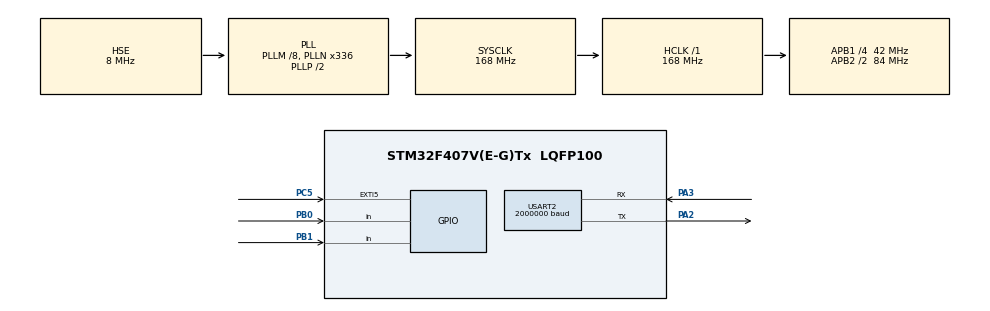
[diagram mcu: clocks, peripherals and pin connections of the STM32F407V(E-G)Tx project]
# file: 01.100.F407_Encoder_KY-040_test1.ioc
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Dma.Request0=USART2_TX
Dma.Request1=USART2_RX
Dma.USART2_RX.1.Direction=DMA_PERIPH_TO_MEMORY
Dma.USART2_RX.1.FIFOMode=DMA_FIFOMODE_DISABLE
Dma.USART2_RX.1.Instance=DMA1_Stream5
Dma.USART2_RX.1.MemDataAlignment=DMA_MDATAALIGN_BYTE
Dma.USART2_RX.1.MemInc=DMA_MINC_ENABLE
Dma.USART2_RX.1.Mode=DMA_CIRCULAR
Dma.USART2_RX.1.PeriphDataAlignment=DMA_PDATAALIGN_BYTE
Dma.USART2_RX.1.PeriphInc=DMA_PINC_DISABLE
Dma.USART2_RX.1.Priority=DMA_PRIORITY_LOW
Dma.USART2_TX.0.Direction=DMA_MEMORY_TO_PERIPH
Dma.USART2_TX.0.FIFOMode=DMA_FIFOMODE_DISABLE
Dma.USART2_TX.0.Instance=DMA1_Stream6
Dma.USART2_TX.0.MemDataAlignment=DMA_MDATAALIGN_BYTE
Dma.USART2_TX.0.MemInc=DMA_MINC_ENABLE
Dma.USART2_TX.0.Mode=DMA_NORMAL
Dma.USART2_TX.0.PeriphDataAlignment=DMA_PDATAALIGN_BYTE
Dma.USART2_TX.0.PeriphInc=DMA_PINC_DISABLE
Dma.USART2_TX.0.Priority=DMA_PRIORITY_LOW
Mcu.Family=STM32F4
Mcu.Name=STM32F407V(E-G)Tx
Mcu.Package=LQFP100
NVIC.DMA1_Stream5_IRQn=true\:0\:3\:false\:false\:true\:false\:true\:true
NVIC.DMA1_Stream6_IRQn=true\:0\:3\:false\:false\:true\:false\:true\:true
NVIC.EXTI9_5_IRQn=true\:0\:4\:false\:false\:true\:true\:true\:true
NVIC.PriorityGroup=NVIC_PRIORITYGROUP_0
NVIC.USART2_IRQn=true\:0\:3\:false\:false\:true\:true\:true\:true
PA2.Mode=Asynchronous
PA2.Signal=USART2_TX
PA3.Mode=Asynchronous
PA3.Signal=USART2_RX
PB0.Signal=GPIO_Input
PB1.Signal=GPIO_Input
PC5.GPIO_PuPd=GPIO_PULLUP
PC5.Signal=GPXTI5
PH0-OSC_IN.Mode=HSE-External-Oscillator
PH0-OSC_IN.Signal=RCC_OSC_IN
PH1-OSC_OUT.Mode=HSE-External-Oscillator
PH1-OSC_OUT.Signal=RCC_OSC_OUT
ProjectManager.HeapSize=0x200
ProjectManager.StackSize=0x400
ProjectManager.TargetToolchain=STM32CubeIDE
RCC.48MHZClocksFreq_Value=48000000
RCC.AHBFreq_Value=168000000
RCC.APB1CLKDivider=RCC_HCLK_DIV4
RCC.APB1Freq_Value=42000000
RCC.APB1TimFreq_Value=84000000
RCC.APB2CLKDivider=RCC_HCLK_DIV2
RCC.APB2Freq_Value=84000000
RCC.APB2TimFreq_Value=168000000
RCC.CortexFreq_Value=168000000
RCC.HCLKFreq_Value=168000000
RCC.HSE_VALUE=8000000
RCC.HSI_VALUE=16000000
RCC.LSE_VALUE=32768
RCC.PLLM=8
RCC.PLLN=336
RCC.PLLQ=7
RCC.PLLSourceVirtual=RCC_PLLSOURCE_HSE
RCC.SYSCLKFreq_VALUE=168000000
RCC.SYSCLKSource=RCC_SYSCLKSOURCE_PLLCLK
RCC.VCOOutputFreq_Value=336000000
USART2.BaudRate=2000000
USART2.VirtualMode=VM_ASYNC
board=STM32F407G-DISC1

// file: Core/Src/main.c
/* USER CODE BEGIN Header */
/**
  ******************************************************************************
  * @file           : main.c
  * @brief          : Main program body
  ******************************************************************************
  * @attention
  *
  * Copyright (c) 2025 STMicroelectronics.
  * All rights reserved.
  *
  * This software is licensed under terms that can be found in the LICENSE file
  * in the root directory of this software component.
  * If no LICENSE file comes with this software, it is provided AS-IS.
  *
  ******************************************************************************
  */
/* USER CODE END Header */
#include "main.h"

/* USER CODE BEGIN Includes */

/*
 * Project is DMA ADC multichannel read(IN8,IN9)
 * ADC1 AN8(PB0) and AN9(PB1) activated and read separately. Rank:1 for IN8, and
 * Rank:2 for IN9 adjustments were important(Number of Conversion: 2 in Mx and
 * Scan Conversion Mode: Enabled, Continous Conversion Mode: Enabled, DMA Conversion Request:
 * Enabled). HAL_ADC_Start_DMA(&hadc1,(uint32_t *)adc_data,2); is outside the while loop.
 * adc_data[2] values are seen during Debug -> Live Expression .
 *  * */
#include <stdio.h>
#include <string.h>
#include <stddef.h>
#include <stdarg.h>
#include <stdbool.h>
#include <stdlib.h>
/* USER CODE END Includes */

UART_HandleTypeDef huart4;
DMA_HandleTypeDef hdma_usart2_tx;
DMA_HandleTypeDef hdma_usart2_rx;

/* USER CODE BEGIN PV */
uint8_t dma_rx_buffer[64];
uint16_t old_pos = 0;
uint8_t encoder_push_button = 0;
uint16_t adc_data[2];

#define THRESHOLD       2047        // Dijital esik degeri (örnegin 1.65V esik = 4095 * 1.65 / 3.3 ? 2047)
// Encoder pozisyonu ve yönü

int encoder_position = 0;
char encoder_direction = 'S'; // S: Sabit, CW: Saat yönü, CCW: Saat tersi yönü

/* USER CODE END PV */

void SystemClock_Config(void);
static void MX_GPIO_Init(void);
static void MX_DMA_Init(void);
static void MX_USART2_UART_Init(void);

/* USER CODE BEGIN 0 */
void DebugPrint(const char *format, ...)
{
    static char uartBuffer[250];  // <--- persists after function returns
    va_list args;
    va_start(args, format);
    vsnprintf(uartBuffer, sizeof(uartBuffer), format, args);
    va_end(args);

    HAL_UART_Transmit_DMA(&huart4, (uint8_t*)uartBuffer, strlen(uartBuffer));
}

void check_dma_data(void) {
    uint16_t pos = sizeof(dma_rx_buffer) - __HAL_DMA_GET_COUNTER(&hdma_usart2_rx);

    if (pos != old_pos) {
        if (pos > old_pos) {
            // Print new data
            for (uint16_t i = old_pos; i < pos; i++) {
                DebugPrint("\r\nGot: '%c' (0x%02X) at pos %d\r\n\r\n",
                       dma_rx_buffer[i], dma_rx_buffer[i], i);

            }
        }
        old_pos = pos;
    }
}

/**
 * @brief Convert ADC raw value to voltage
 * @param adc_raw: Raw ADC value (0-4095)
 * @retval float: Voltage (0.0-3.3V)
 */
float adc_to_voltage(uint16_t adc_raw)
{
    return ((float)adc_raw * 3.3f) / 4095.0f;
}

//void Encoder_Read(void)
//{
//    static uint8_t prev_state = 0;
//
//    uint8_t A = (adc_data[0] > THRESHOLD) ? 1 : 0;
//    uint8_t B = (adc_data[1] > THRESHOLD) ? 1 : 0;
//
//    uint8_t current_state = (A << 1) | B;
//
//    if ((prev_state == 0 && current_state == 1) ||
//        (prev_state == 1 && current_state == 3) ||
//        (prev_state == 3 && current_state == 2) ||
//        (prev_state == 2 && current_state == 0)) {
//        encoder_position--;
//        encoder_direction = 'L'; // CW
//    }
//    else if ((prev_state == 0 && current_state == 2) ||
//             (prev_state == 2 && current_state == 3) ||
//             (prev_state == 3 && current_state == 1) ||
//             (prev_state == 1 && current_state == 0)) {
//        encoder_position++;
//        encoder_direction = 'R'; // CCW
//    } else {
//        encoder_direction = 'S'; // Sabit / Bos geçis
//    }
//
//    prev_state = current_state;
//
//}

void KY040_Simple_Read(void)
{
    static uint8_t last_clk = 0;

    // Read current pin states
    uint8_t clk = HAL_GPIO_ReadPin(GPIOB, GPIO_PIN_1);  // CLK pin
    uint8_t dt = HAL_GPIO_ReadPin(GPIOB, GPIO_PIN_0);   // DT pin

    // Detect falling edge on CLK
    if (last_clk == 1 && clk == 0) {
        if (dt == 0) {
            // CLK and DT both low = Clockwise
        	if(encoder_position < 50)
        	{
        		encoder_position++;
        		encoder_direction = 'R';
        	}

        	else if(encoder_position >= 50)
        	{
        		encoder_position = 50;
        		encoder_direction = 'S';
        	}

        } else {
            // CLK low, DT high = Counter-clockwise
        		if(encoder_position > 0)
        		{
        			encoder_position--;
        			encoder_direction = 'L';

        		}else if(encoder_position <= 0)

        		{
        			encoder_position = 0;
        	        encoder_direction = 'S';
        	    }

        }
    } else {
        encoder_direction = 'S';  // No movement
    }

    last_clk = clk;
}
/* USER CODE END 0 */

int main(void)
{

  /* MCU Configuration--------------------------------------------------------*/

  /* Reset of all peripherals, Initializes the Flash interface and the Systick. */
  HAL_Init();

  /* Configure the system clock */
  SystemClock_Config();

  /* Initialize all configured peripherals */
  MX_GPIO_Init();
  MX_DMA_Init();
  MX_USART2_UART_Init();
  /* USER CODE BEGIN 2 */
  HAL_UART_Receive_DMA(&huart4, dma_rx_buffer, sizeof(dma_rx_buffer));
  DebugPrint("DMA started! Type something...\r\n\r\n");

//  HAL_ADC_Start_IT(&hadc1);
//  HAL_ADCEX_CALIBRATION_START(&HADC1,ADC_SINGLE_ENDED);	//The function is NOT available on STM32F4 series! This function only exists on newer STM32 families like F3, L4, G4, H7, etc.
//  HAL_ADC_START_DMA(&HADC1,(UINT32_T *)ADC_DATA,2);

//  DebugPrint("Raw ADC: adc_data[0]=%d, adc_data[1]=%d\r\n", adc_data[0], adc_data[1]);

  /* USER CODE END 2 */

  /* Infinite loop */
  while (1)
  {

    /* USER CODE BEGIN 3 */

//	  DebugPrint("Raw ADC: adc_data[0]=%d, adc_data[1]=%d\r\n", adc_data[0], adc_data[1]);
	  KY040_Simple_Read();
	  DebugPrint("POS: %d, DIR: %c, BUT: %d\r\n", encoder_position,encoder_direction,encoder_push_button);
	  if(encoder_push_button)
	  {
		  encoder_push_button = 0;
		  HAL_Delay(1000);
	  }

	  HAL_Delay(10);

//	  check_dma_data();

  }
  /* USER CODE END 3 */
}

void SystemClock_Config(void)
{
  RCC_OscInitTypeDef RCC_OscInitStruct = {0};
  RCC_ClkInitTypeDef RCC_ClkInitStruct = {0};

  /** Configure the main internal regulator output voltage
  */
  __HAL_RCC_PWR_CLK_ENABLE();
  __HAL_PWR_VOLTAGESCALING_CONFIG(PWR_REGULATOR_VOLTAGE_SCALE1);

  /** Initializes the RCC Oscillators according to the specified parameters
  * in the RCC_OscInitTypeDef structure.
  */
  RCC_OscInitStruct.OscillatorType = RCC_OSCILLATORTYPE_HSE;
  RCC_OscInitStruct.HSEState = RCC_HSE_ON;
  RCC_OscInitStruct.PLL.PLLState = RCC_PLL_ON;
  RCC_OscInitStruct.PLL.PLLSource = RCC_PLLSOURCE_HSE;
  RCC_OscInitStruct.PLL.PLLM = 8;
  RCC_OscInitStruct.PLL.PLLN = 336;
  RCC_OscInitStruct.PLL.PLLP = RCC_PLLP_DIV2;
  RCC_OscInitStruct.PLL.PLLQ = 7;
  if (HAL_RCC_OscConfig(&RCC_OscInitStruct) != HAL_OK)
  {
    Error_Handler();
  }

  /** Initializes the CPU, AHB and APB buses clocks
  */
  RCC_ClkInitStruct.ClockType = RCC_CLOCKTYPE_HCLK|RCC_CLOCKTYPE_SYSCLK
                              |RCC_CLOCKTYPE_PCLK1|RCC_CLOCKTYPE_PCLK2;
  RCC_ClkInitStruct.SYSCLKSource = RCC_SYSCLKSOURCE_PLLCLK;
  RCC_ClkInitStruct.AHBCLKDivider = RCC_SYSCLK_DIV1;
  RCC_ClkInitStruct.APB1CLKDivider = RCC_HCLK_DIV4;
  RCC_ClkInitStruct.APB2CLKDivider = RCC_HCLK_DIV2;

  if (HAL_RCC_ClockConfig(&RCC_ClkInitStruct, FLASH_LATENCY_5) != HAL_OK)
  {
    Error_Handler();
  }
}

static void MX_USART2_UART_Init(void)
{

  huart4.Instance = USART2;
  huart4.Init.BaudRate = 2000000;
  huart4.Init.WordLength = UART_WORDLENGTH_8B;
  huart4.Init.StopBits = UART_STOPBITS_1;
  huart4.Init.Parity = UART_PARITY_NONE;
  huart4.Init.Mode = UART_MODE_TX_RX;
  huart4.Init.HwFlowCtl = UART_HWCONTROL_NONE;
  huart4.Init.OverSampling = UART_OVERSAMPLING_16;
  if (HAL_UART_Init(&huart4) != HAL_OK)
  {
    Error_Handler();
  }

}

static void MX_DMA_Init(void)
{

  /* DMA controller clock enable */
  __HAL_RCC_DMA1_CLK_ENABLE();

  /* DMA interrupt init */
  /* DMA1_Stream5_IRQn interrupt configuration */
  HAL_NVIC_SetPriority(DMA1_Stream5_IRQn, 0, 3);
  HAL_NVIC_EnableIRQ(DMA1_Stream5_IRQn);
  /* DMA1_Stream6_IRQn interrupt configuration */
  HAL_NVIC_SetPriority(DMA1_Stream6_IRQn, 0, 3);
  HAL_NVIC_EnableIRQ(DMA1_Stream6_IRQn);

}

static void MX_GPIO_Init(void)
{
  GPIO_InitTypeDef GPIO_InitStruct = {0};

  /* GPIO Ports Clock Enable */
  __HAL_RCC_GPIOH_CLK_ENABLE();
  __HAL_RCC_GPIOA_CLK_ENABLE();
  __HAL_RCC_GPIOC_CLK_ENABLE();
  __HAL_RCC_GPIOB_CLK_ENABLE();

  /*Configure GPIO pin : PC5 */
  GPIO_InitStruct.Pin = GPIO_PIN_5;
  GPIO_InitStruct.Mode = GPIO_MODE_IT_RISING;
  GPIO_InitStruct.Pull = GPIO_PULLUP;
  HAL_GPIO_Init(GPIOC, &GPIO_InitStruct);

  /*Configure GPIO pins : PB0 PB1 */
  GPIO_InitStruct.Pin = GPIO_PIN_0|GPIO_PIN_1;
  GPIO_InitStruct.Mode = GPIO_MODE_INPUT;
  GPIO_InitStruct.Pull = GPIO_NOPULL;
  HAL_GPIO_Init(GPIOB, &GPIO_InitStruct);

  /* EXTI interrupt init*/
  HAL_NVIC_SetPriority(EXTI9_5_IRQn, 0, 4);
  HAL_NVIC_EnableIRQ(EXTI9_5_IRQn);

}

/* USER CODE BEGIN 4 */

void HAL_GPIO_EXTI_Callback(uint16_t GPIO_Pin)
{
	encoder_push_button = 1;
}

/* USER CODE END 4 */

void Error_Handler(void)
{
  __disable_irq();
  while (1)
  {
  }
}
